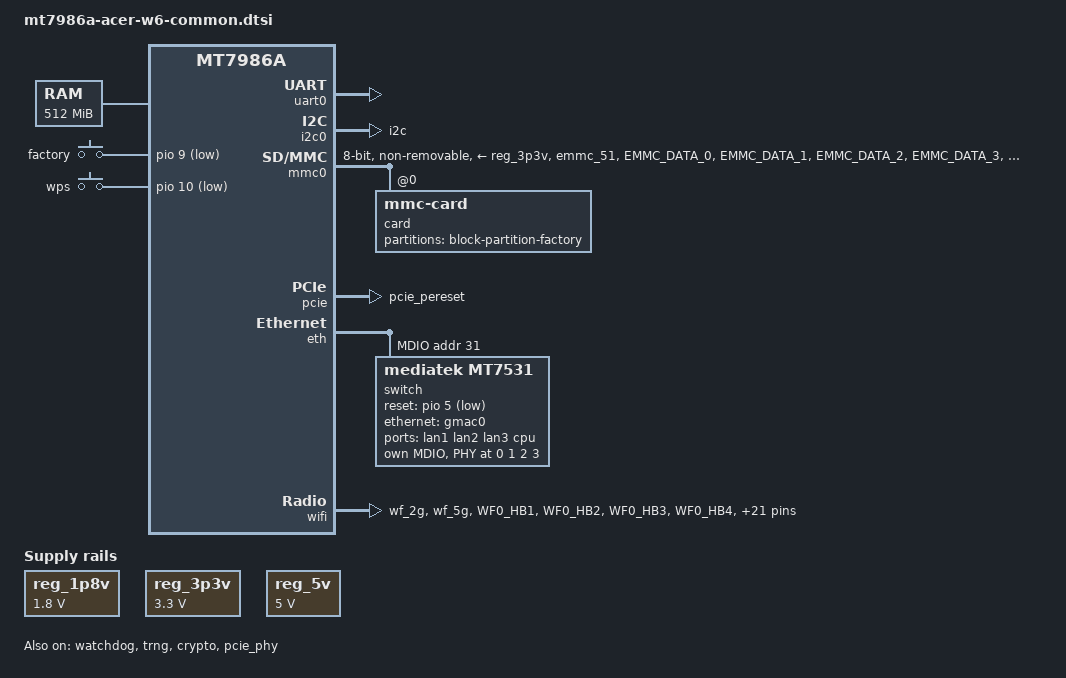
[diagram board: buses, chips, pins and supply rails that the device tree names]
// SPDX-License-Identifier: GPL-2.0-or-later OR MIT

#include <dt-bindings/input/input.h>
#include <dt-bindings/gpio/gpio.h>
#include <dt-bindings/leds/common.h>
#include <dt-bindings/pinctrl/mt65xx.h>

#include "mt7986a.dtsi"

/ {
	chosen {
		stdout-path = "serial0:115200n8";
		bootargs = "dm-mod.create=\"acer,,,ro,0 1 zero 1 0 0 0\" rootfstype=squashfs,ext4 rootwait root=/dev/mmcblk0p6 fstools_ignore_partname=1";
	};

	memory@40000000 {
		reg = <0 0x40000000 0 0x20000000>;
		device_type = "memory";
	};

	reg_1p8v: regulator-1p8v {
		compatible = "regulator-fixed";
		regulator-name = "fixed-1.8V";
		regulator-min-microvolt = <1800000>;
		regulator-max-microvolt = <1800000>;
		regulator-boot-on;
		regulator-always-on;
	};

	reg_3p3v: regulator-3p3v {
		compatible = "regulator-fixed";
		regulator-name = "fixed-3.3V";
		regulator-min-microvolt = <3300000>;
		regulator-max-microvolt = <3300000>;
		regulator-boot-on;
		regulator-always-on;
	};

	reg_5v: regulator-5v {
		compatible = "regulator-fixed";
		regulator-name = "fixed-5V";
		regulator-min-microvolt = <5000000>;
		regulator-max-microvolt = <5000000>;
		regulator-boot-on;
		regulator-always-on;
	};

	gpio-keys {
		compatible = "gpio-keys";

		factory {
			label = "factory";
			linux,code = <KEY_RESTART>;
			gpios = <&pio 9 GPIO_ACTIVE_LOW>;
		};

		wps {
			label = "wps";
			linux,code = <KEY_WPS_BUTTON>;
			gpios = <&pio 10 GPIO_ACTIVE_LOW>;
		};
	};
};

&watchdog {
	status = "okay";
};

&pio {
	mmc0_pins_default: mmc0-pins {
		mux {
			function = "emmc";
			groups = "emmc_51";
		};

		conf-cmd-dat {
			pins = "EMMC_DATA_0", "EMMC_DATA_1", "EMMC_DATA_2",
			       "EMMC_DATA_3", "EMMC_DATA_4", "EMMC_DATA_5",
			       "EMMC_DATA_6", "EMMC_DATA_7", "EMMC_CMD";
			input-enable;
			drive-strength = <MTK_DRIVE_4mA>;
			bias-pull-up = <MTK_PUPD_SET_R1R0_01>;	/* pull-up 10K */
		};

		conf-clk {
			pins = "EMMC_CK";
			drive-strength = <MTK_DRIVE_6mA>;
			bias-pull-down = <MTK_PUPD_SET_R1R0_10>;	/* pull-down 50K */
		};

		conf-ds {
			pins = "EMMC_DSL";
			bias-pull-down = <MTK_PUPD_SET_R1R0_10>;	/* pull-down 50K */
		};

		conf-rst {
			pins = "EMMC_RSTB";
			drive-strength = <MTK_DRIVE_4mA>;
			bias-pull-up = <MTK_PUPD_SET_R1R0_01>;	/* pull-up 10K */
		};
	};

	mmc0_pins_uhs: mmc0-uhs-pins {
		mux {
			function = "emmc";
			groups = "emmc_51";
		};

		conf-cmd-dat {
			pins = "EMMC_DATA_0", "EMMC_DATA_1", "EMMC_DATA_2",
			       "EMMC_DATA_3", "EMMC_DATA_4", "EMMC_DATA_5",
			       "EMMC_DATA_6", "EMMC_DATA_7", "EMMC_CMD";
			input-enable;
			drive-strength = <MTK_DRIVE_4mA>;
			bias-pull-up = <MTK_PUPD_SET_R1R0_01>;	/* pull-up 10K */
		};

		conf-clk {
			pins = "EMMC_CK";
			drive-strength = <MTK_DRIVE_6mA>;
			bias-pull-down = <MTK_PUPD_SET_R1R0_10>;	/* pull-down 50K */
		};

		conf-ds {
			pins = "EMMC_DSL";
			bias-pull-down = <MTK_PUPD_SET_R1R0_10>;	/* pull-down 50K */
		};

		conf-rst {
			pins = "EMMC_RSTB";
			drive-strength = <MTK_DRIVE_4mA>;
			bias-pull-up = <MTK_PUPD_SET_R1R0_01>;	/* pull-up 10K */
		};
	};

	pcie_pins: pcie-pins {
		mux {
			function = "pcie";
			groups = "pcie_pereset";
		};
	};

	wf_2g_5g_pins: wf_2g_5g-pins {
		mux {
			function = "wifi";
			groups = "wf_2g", "wf_5g";
		};
		conf {
			pins = "WF0_HB1", "WF0_HB2", "WF0_HB3", "WF0_HB4",
			       "WF0_HB0", "WF0_HB0_B", "WF0_HB5", "WF0_HB6",
			       "WF0_HB7", "WF0_HB8", "WF0_HB9", "WF0_HB10",
			       "WF0_TOP_CLK", "WF0_TOP_DATA", "WF1_HB1",
			       "WF1_HB2", "WF1_HB3", "WF1_HB4", "WF1_HB0",
			       "WF1_HB5", "WF1_HB6", "WF1_HB7", "WF1_HB8",
			       "WF1_TOP_CLK", "WF1_TOP_DATA";
			drive-strength = <MTK_DRIVE_4mA>;
		};
	};

	wf_dbdc_pins: wf-dbdc-pins {
		mux {
			function = "wifi";
			groups = "wf_dbdc";
		};
		conf {
			pins = "WF0_HB1", "WF0_HB2", "WF0_HB3", "WF0_HB4",
				"WF0_HB0", "WF0_HB0_B", "WF0_HB5", "WF0_HB6",
				"WF0_HB7", "WF0_HB8", "WF0_HB9", "WF0_HB10",
				"WF0_TOP_CLK", "WF0_TOP_DATA", "WF1_HB1",
				"WF1_HB2", "WF1_HB3", "WF1_HB4", "WF1_HB0",
				"WF1_HB5", "WF1_HB6", "WF1_HB7", "WF1_HB8",
				"WF1_TOP_CLK", "WF1_TOP_DATA";
			drive-strength = <MTK_DRIVE_4mA>;
		};
	};

	i2c_pins: i2c-pins {
		mux {
			function = "i2c";
			groups = "i2c";
		};
	};
};

&trng {
	status = "okay";
};

&crypto {
	status = "okay";
};

&uart0 {
	status = "okay";
};

&i2c0 {
	pinctrl-names = "default";
	pinctrl-0 = <&i2c_pins>;
	status = "okay";
};

&mmc0 {
	status = "okay";
	pinctrl-names = "default", "state_uhs";
	pinctrl-0 = <&mmc0_pins_default>;
	pinctrl-1 = <&mmc0_pins_uhs>;
	bus-width = <0x08>;
	max-frequency = <200000000>;
	cap-mmc-highspeed;
	mmc-hs200-1_8v;
	mmc-hs400-1_8v;
	hs400-ds-delay = <0x14014>;
	vmmc-supply = <&reg_3p3v>;
	vqmmc-supply = <&reg_1p8v>;
	non-removable;
	no-sd;
	no-sdio;
	#address-cells = <1>;
	#size-cells = <0>;

	card@0 {
		compatible = "mmc-card";
		reg = <0>;

		block {
			compatible = "block-device";

			partitions {
				block-partition-factory {
					partname = "factory";

					nvmem: nvmem-layout {
						compatible = "fixed-layout";
						#address-cells = <1>;
						#size-cells = <1>;

						eeprom_factory_0: eeprom@0 {
							reg = <0x0 0x1000>;
						};
					};
				};
			};
		};
	};
};

&pcie {
	pinctrl-names = "default";
	pinctrl-0 = <&pcie_pins>;
	status = "okay";

	slot0: pcie@0,0 {
		reg = <0x0000 0 0 0 0>;
		#address-cells = <0x03>;
		#size-cells = <0x02>;
	};
};

&pcie_phy {
	status = "okay";
};

&eth {
	status = "okay";

	gmac0: mac@0 {
		compatible = "mediatek,eth-mac";
		reg = <0>;
		phy-mode = "2500base-x";

		fixed-link {
			speed = <2500>;
			full-duplex;
			pause;
		};
	};

	mdio: mdio-bus {
		#address-cells = <1>;
		#size-cells = <0>;

		switch: switch@1f {
			compatible = "mediatek,mt7531";
			reg = <31>;
			reset-gpios = <&pio 5 GPIO_ACTIVE_LOW>;

			ports {
				#address-cells = <1>;
				#size-cells = <0>;

				swport0: port@0 {
					reg = <0>;
					phy-handle = <&swphy0>;
				};

				port@1 {
					reg = <1>;
					label = "lan1";
					phy-handle = <&swphy1>;
				};

				port@2 {
					reg = <2>;
					label = "lan2";
					phy-handle = <&swphy2>;
				};

				port@3 {
					reg = <3>;
					label = "lan3";
					phy-handle = <&swphy3>;
				};

				port@6 {
					reg = <6>;
					label = "cpu";
					ethernet = <&gmac0>;
					phy-mode = "2500base-x";

					fixed-link {
						speed = <2500>;
						full-duplex;
						pause;
					};
				};
			};

			mdio {
				#address-cells = <1>;
				#size-cells = <0>;

				swphy0: phy@0 {
					reg = <0>;

					mediatek,led-config = <
						0x21 0x8008 /* BASIC_CTRL */
						0x22 0x0c00 /* ON_DURATION */
						0x23 0x1400 /* BLINK_DURATION */
						0x24 0xc001 /* LED0_ON_CTRL */
						0x25 0x0003 /* LED0_BLINK_CTRL */
						0x26 0xc006 /* LED1_ON_CTRL */
						0x27 0x003c /* LED1_BLINK_CTRL */
					>;
				};

				swphy1: phy@1 {
					reg = <1>;

					mediatek,led-config = <
						0x21 0x8008 /* BASIC_CTRL */
						0x22 0x0c00 /* ON_DURATION */
						0x23 0x1400 /* BLINK_DURATION */
						0x24 0xc001 /* LED0_ON_CTRL */
						0x25 0x0003 /* LED0_BLINK_CTRL */
						0x26 0xc006 /* LED1_ON_CTRL */
						0x27 0x003c /* LED1_BLINK_CTRL */
					>;
				};

				swphy2: phy@2 {
					reg = <2>;

					mediatek,led-config = <
						0x21 0x8008 /* BASIC_CTRL */
						0x22 0x0c00 /* ON_DURATION */
						0x23 0x1400 /* BLINK_DURATION */
						0x24 0xc001 /* LED0_ON_CTRL */
						0x25 0x0003 /* LED0_BLINK_CTRL */
						0x26 0xc006 /* LED1_ON_CTRL */
						0x27 0x003c /* LED1_BLINK_CTRL */
					>;
				};

				swphy3: phy@3 {
					reg = <3>;

					mediatek,led-config = <
						0x21 0x8008 /* BASIC_CTRL */
						0x22 0x0c00 /* ON_DURATION */
						0x23 0x1400 /* BLINK_DURATION */
						0x24 0xc001 /* LED0_ON_CTRL */
						0x25 0x0003 /* LED0_BLINK_CTRL */
						0x26 0xc006 /* LED1_ON_CTRL */
						0x27 0x003c /* LED1_BLINK_CTRL */
					>;
				};
			};
		};
	};
};

&wifi {
	nvmem-cells = <&eeprom_factory_0>;
	nvmem-cell-names = "eeprom";
	pinctrl-names = "default", "dbdc";
	pinctrl-0 = <&wf_2g_5g_pins>;
	pinctrl-1 = <&wf_dbdc_pins>;
	status = "okay";
};
